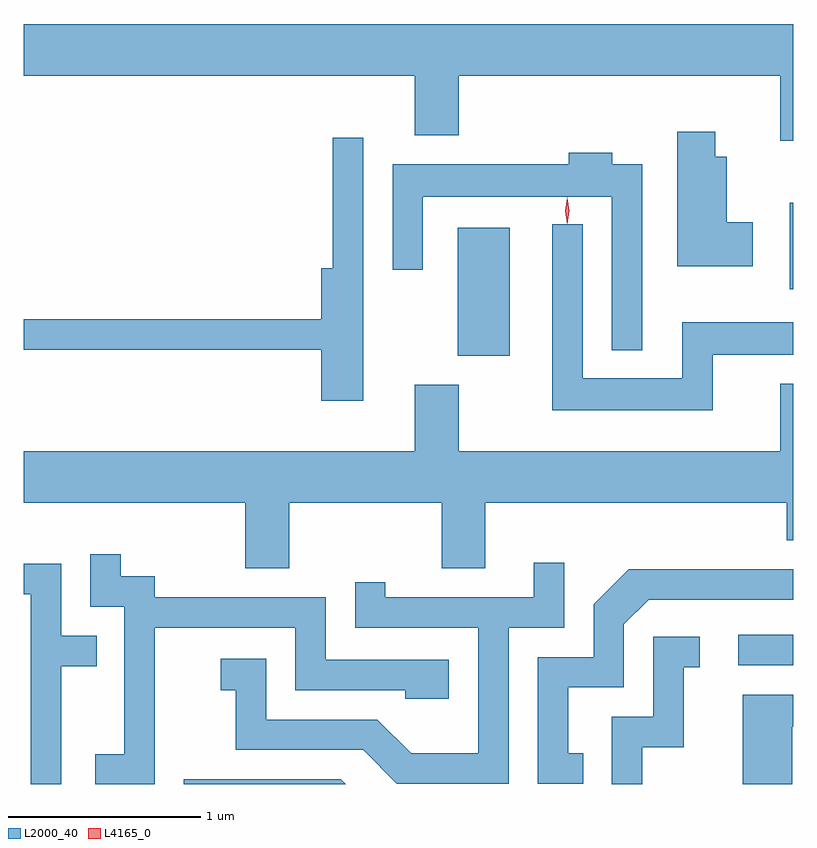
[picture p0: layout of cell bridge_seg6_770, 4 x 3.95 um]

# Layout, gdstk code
import gdstk
lib = gdstk.Library(unit=1e-6, precision=1e-09)
def R(c, l, rs):  # rectangles x0, y0, x1, y1
    for r in rs: c.add(gdstk.rectangle(r[:2], r[2:], *l))
def P(c, l, *ps):  # polygons
    for p in ps: c.add(gdstk.Polygon(p, *l))
L2000_40 = (2000, 40)
L4165_0 = (4165, 0)

bridge_seg6_770 = lib.new_cell('bridge_seg6_770')
R(bridge_seg6_770, L2000_40, [(509.393,1553.631,509.679,1553.789), (507.936,1555.241,508.204,1555.904), (509.661,1555.586,509.679,1556.034)])
P(bridge_seg6_770, L2000_40, [(509.679,1556.964),(505.679,1556.964),(505.679,1556.696),(507.711,1556.696),(507.711,1556.386),(507.939,1556.386),(507.939,1556.696),(509.611,1556.696),(509.611,1556.356),(509.679,1556.356)],
  [(509.469,1555.934),(509.334,1555.934),(509.334,1556.274),(509.274,1556.274),(509.274,1556.404),(509.076,1556.404),(509.076,1555.706),(509.469,1555.706)],
  [(507.444,1556.373),(507.286,1556.373),(507.286,1555.694),(507.226,1555.694),(507.226,1555.429),(505.679,1555.429),(505.679,1555.271),(507.226,1555.271),(507.226,1555.006),(507.444,1555.006)],
  [(508.894,1556.234),(508.739,1556.234),(508.739,1556.294),(508.511,1556.294),(508.511,1556.234),(507.596,1556.234),(507.596,1555.688),(507.754,1555.688),(507.754,1556.066),(508.736,1556.066),(508.736,1555.268),(508.894,1555.268)],
  [(509.259,1555.246),(509.679,1555.246),(509.679,1555.414),(509.101,1555.414),(509.101,1555.124),(508.584,1555.124),(508.584,1555.923),(508.426,1555.923),(508.426,1554.956),(509.259,1554.956)],
  [(507.059,1554.476),(507.851,1554.476),(507.851,1554.136),(508.079,1554.136),(508.079,1554.476),(509.646,1554.476),(509.646,1554.281),(509.679,1554.281),(509.679,1555.094),(509.611,1555.094),(509.611,1554.744),(507.939,1554.744),(507.939,1555.089),(507.711,1555.089),(507.711,1554.744),(505.679,1554.744),(505.679,1554.476),(506.831,1554.476),(506.831,1554.136),(507.059,1554.136)],
  [(506.359,1553.826),(507.091,1553.826),(507.091,1553.501),(507.661,1553.501),(507.661,1553.456),(507.889,1553.456),(507.889,1553.659),(507.249,1553.659),(507.249,1553.984),(506.359,1553.984),(506.359,1554.094),(506.184,1554.094),(506.184,1554.208),(506.026,1554.208),(506.026,1553.936),(506.201,1553.936),(506.201,1553.169),(506.051,1553.169),(506.051,1553.014),(506.359,1553.014)],
  [(508.199,1553.826),(508.489,1553.826),(508.489,1554.163),(508.331,1554.163),(508.331,1553.984),(507.559,1553.984),(507.559,1554.063),(507.401,1554.063),(507.401,1553.826),(508.041,1553.826),(508.041,1553.174),(507.692,1553.174),(507.517,1553.349),(506.939,1553.349),(506.939,1553.664),(506.703,1553.664),(506.703,1553.501),(506.781,1553.501),(506.781,1553.191),(507.444,1553.191),(507.619,1553.016),(508.199,1553.016)],
  [(505.874,1553.626),(506.058,1553.626),(506.058,1553.784),(505.874,1553.784),(505.874,1554.159),(505.679,1554.159),(505.679,1554.001),(505.716,1554.001),(505.716,1553.014),(505.874,1553.014)],
  [(508.588,1553.174),(508.509,1553.174),(508.509,1553.516),(508.799,1553.516),(508.799,1553.844),(508.927,1553.971),(509.679,1553.971),(509.679,1554.129),(508.824,1554.129),(508.641,1553.947),(508.641,1553.674),(508.351,1553.674),(508.351,1553.016),(508.588,1553.016)],
  [(508.894,1553.206),(509.109,1553.206),(509.109,1553.621),(509.193,1553.621),(509.193,1553.779),(508.951,1553.779),(508.951,1553.364),(508.736,1553.364),(508.736,1553.014),(508.894,1553.014)],
  [(509.674,1553.311),(509.679,1553.311),(509.679,1553.479),(509.416,1553.479),(509.416,1553.014),(509.674,1553.014)],
  [(507.327,1553.039),(506.511,1553.039),(506.511,1553.014),(507.352,1553.014)])
P(bridge_seg6_770, L4165_0, [(508.503,1555.924),(508.494,1555.993),(508.503,1556.062),(508.504,1556.063),(508.504,1556.062),(508.514,1555.993),(508.504,1555.924),(508.504,1555.924)],
  [(508.504,1555.927),(508.495,1555.994),(508.504,1556.06),(508.505,1556.06),(508.505,1556.06),(508.515,1555.994),(508.505,1555.927),(508.505,1555.927)])

lib.write_gds('bridge_seg6_770.gds')
